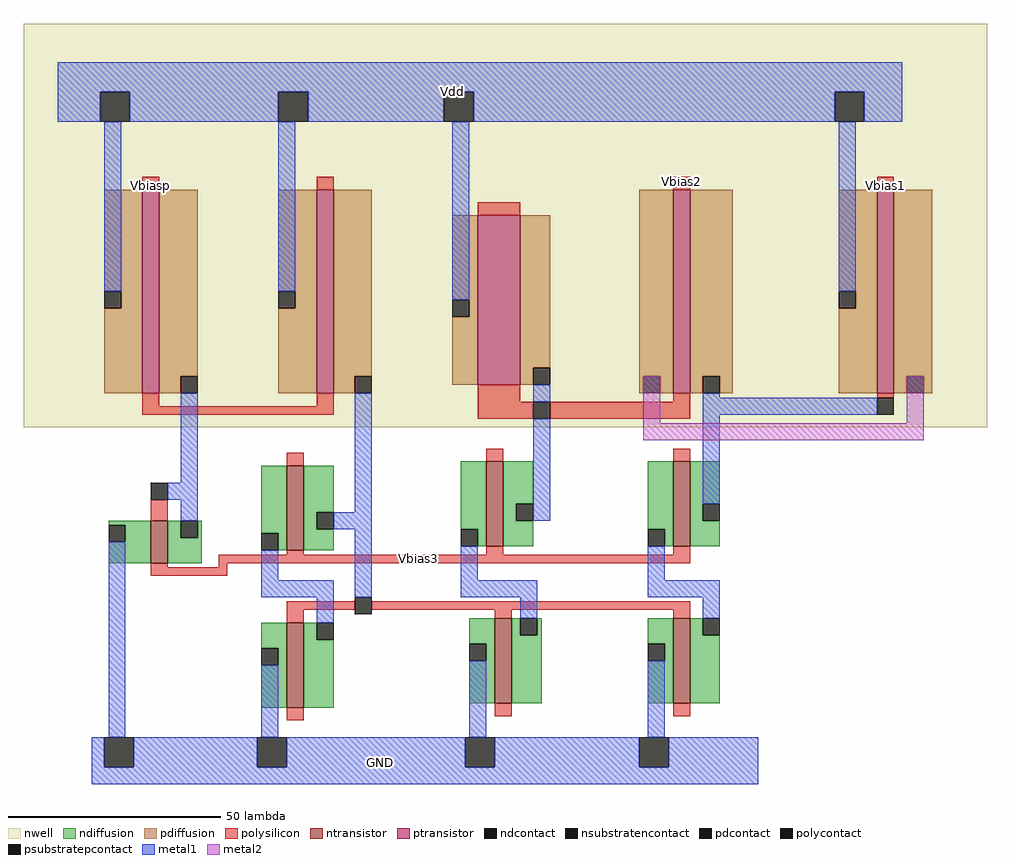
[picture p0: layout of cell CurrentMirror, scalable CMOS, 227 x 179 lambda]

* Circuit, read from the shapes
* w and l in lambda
.subckt CurrentMirror GND Vbias1 Vbias2 Vbias3 Vbiasp Vdd
M1 Vbias3 Vbias3 GND GND nfet w=10 l=4
M2 n1 n2 GND GND nfet w=20 l=4
M3 n2 Vbias3 n1 GND nfet w=20 l=4
M4 Vbias2 Vbias3 n3 GND nfet w=20 l=4
M5 n3 n2 GND GND nfet w=20 l=4
M6 n4 n2 GND GND nfet w=20 l=4
M7 Vbias1 Vbias3 n4 GND nfet w=20 l=4
M8 Vbias3 Vbiasp Vdd Vdd pfet w=48 l=4
M9 n2 Vbiasp Vdd Vdd pfet w=48 l=4
M10 Vbias2 Vbias2 Vdd Vdd pfet w=40 l=10
M11 Vbias1 Vbias2 n5 Vdd pfet w=48 l=4
M12 n6 Vbias1 Vdd Vdd pfet w=48 l=4
.ends

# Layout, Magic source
magic
tech scmos
<< nwell >>
rect -72 -18 155 77
<< ntransistor >>
rect -42 -50 -38 -40
rect -10 -47 -6 -27
rect 37 -46 41 -26
rect 81 -46 85 -26
rect -10 -84 -6 -64
rect 39 -83 43 -63
rect 81 -83 85 -63
<< ptransistor >>
rect -44 -10 -40 38
rect -3 -10 1 38
rect 35 -8 45 32
rect 81 -10 85 38
rect 129 -10 133 38
<< ndiffusion >>
rect -52 -41 -42 -40
rect -48 -45 -42 -41
rect -52 -50 -42 -45
rect -38 -44 -35 -40
rect -31 -44 -30 -40
rect -38 -50 -30 -44
rect -16 -43 -10 -27
rect -12 -47 -10 -43
rect -6 -38 1 -27
rect -6 -42 -3 -38
rect -6 -47 1 -42
rect 31 -42 37 -26
rect 35 -46 37 -42
rect 41 -36 48 -26
rect 41 -40 44 -36
rect 41 -46 48 -40
rect 75 -42 81 -26
rect 79 -46 81 -42
rect 85 -36 92 -26
rect 85 -40 88 -36
rect 85 -46 92 -40
rect -16 -70 -10 -64
rect -12 -74 -10 -70
rect -16 -84 -10 -74
rect -6 -68 -3 -64
rect -6 -84 1 -68
rect 33 -69 39 -63
rect 37 -73 39 -69
rect 33 -83 39 -73
rect 43 -67 45 -63
rect 49 -67 50 -63
rect 43 -83 50 -67
rect 75 -69 81 -63
rect 79 -73 81 -69
rect 75 -83 81 -73
rect 85 -67 88 -63
rect 85 -83 92 -67
<< pdiffusion >>
rect -53 14 -44 38
rect -49 10 -44 14
rect -53 -10 -44 10
rect -40 -6 -31 38
rect -40 -10 -35 -6
rect -12 14 -3 38
rect -8 10 -3 14
rect -12 -10 -3 10
rect 1 -6 10 38
rect 1 -10 6 -6
rect 29 12 35 32
rect 33 8 35 12
rect 29 -8 35 8
rect 45 -4 52 32
rect 45 -8 48 -4
rect 73 -6 81 38
rect 73 -10 74 -6
rect 78 -10 81 -6
rect 85 -6 95 38
rect 85 -10 88 -6
rect 92 -10 95 -6
rect 120 14 129 38
rect 124 10 129 14
rect 120 -10 129 10
rect 133 -6 142 38
rect 133 -10 136 -6
rect 140 -10 142 -6
<< ndcontact >>
rect -52 -45 -48 -41
rect -35 -44 -31 -40
rect -16 -47 -12 -43
rect -3 -42 1 -38
rect 31 -46 35 -42
rect 44 -40 48 -36
rect 75 -46 79 -42
rect 88 -40 92 -36
rect -16 -74 -12 -70
rect -3 -68 1 -64
rect 33 -73 37 -69
rect 45 -67 49 -63
rect 75 -73 79 -69
rect 88 -67 92 -63
<< pdcontact >>
rect -53 10 -49 14
rect -35 -10 -31 -6
rect -12 10 -8 14
rect 6 -10 10 -6
rect 29 8 33 12
rect 48 -8 52 -4
rect 74 -10 78 -6
rect 88 -10 92 -6
rect 120 10 124 14
rect 136 -10 140 -6
<< psubstratepcontact >>
rect -53 -98 -46 -91
rect -17 -98 -10 -91
rect 32 -98 39 -91
rect 73 -98 80 -91
<< nsubstratencontact >>
rect -54 54 -47 61
rect -12 54 -5 61
rect 27 54 34 61
rect 119 54 126 61
<< polysilicon >>
rect -44 38 -40 41
rect -3 38 1 41
rect 81 38 85 41
rect 129 38 133 41
rect 35 32 45 35
rect -44 -13 -40 -10
rect -3 -13 1 -10
rect -44 -15 1 -13
rect 35 -12 45 -8
rect 81 -12 85 -10
rect 35 -16 48 -12
rect 52 -16 85 -12
rect 129 -11 133 -10
rect -10 -27 -6 -24
rect 37 -26 41 -23
rect 81 -26 85 -23
rect -42 -40 -38 -35
rect -10 -48 -6 -47
rect 37 -48 41 -46
rect 81 -48 85 -46
rect -26 -50 85 -48
rect -42 -51 -38 -50
rect -26 -51 -24 -50
rect -42 -53 -24 -51
rect -10 -61 6 -59
rect -10 -64 -6 -61
rect 10 -61 85 -59
rect 39 -63 43 -61
rect 81 -63 85 -61
rect -10 -87 -6 -84
rect 39 -86 43 -83
rect 81 -86 85 -83
<< polycontact >>
rect 48 -16 52 -12
rect 129 -15 133 -11
rect -42 -35 -38 -31
rect 6 -62 10 -58
<< metal1 >>
rect -64 61 135 68
rect -64 54 -54 61
rect -47 54 -12 61
rect -5 54 27 61
rect 34 54 119 61
rect 126 54 135 61
rect -53 14 -49 54
rect -12 14 -8 54
rect 29 12 33 54
rect 120 14 124 54
rect -35 -31 -31 -10
rect -38 -35 -31 -31
rect -35 -40 -31 -35
rect 6 -38 10 -10
rect 48 -12 52 -8
rect 1 -42 10 -38
rect 48 -40 52 -16
rect 88 -11 92 -10
rect 88 -15 129 -11
rect 88 -36 92 -15
rect -52 -91 -48 -45
rect -16 -54 -12 -47
rect -16 -58 1 -54
rect -3 -64 1 -58
rect 6 -58 10 -42
rect 31 -54 35 -46
rect 75 -54 79 -46
rect 31 -58 49 -54
rect 75 -58 92 -54
rect 45 -63 49 -58
rect 88 -63 92 -58
rect -16 -91 -12 -74
rect 33 -91 37 -73
rect 75 -91 79 -73
rect -56 -98 -53 -91
rect -46 -98 -17 -91
rect -10 -98 32 -91
rect 39 -98 73 -91
rect 80 -98 101 -91
rect -56 -102 101 -98
<< metal2 >>
rect 74 -17 78 -6
rect 136 -17 140 -6
rect 74 -21 140 -17
<< labels >>
rlabel polysilicon 21 -49 21 -49 1 Vbias3
rlabel metal1 12 -97 12 -97 1 GND
rlabel polysilicon -42 39 -42 39 1 Vbiasp
rlabel polysilicon 83 40 83 40 1 Vbias2
rlabel polysilicon 131 39 131 39 1 Vbias1
rlabel metal1 29 61 29 61 1 Vdd
<< end >>
